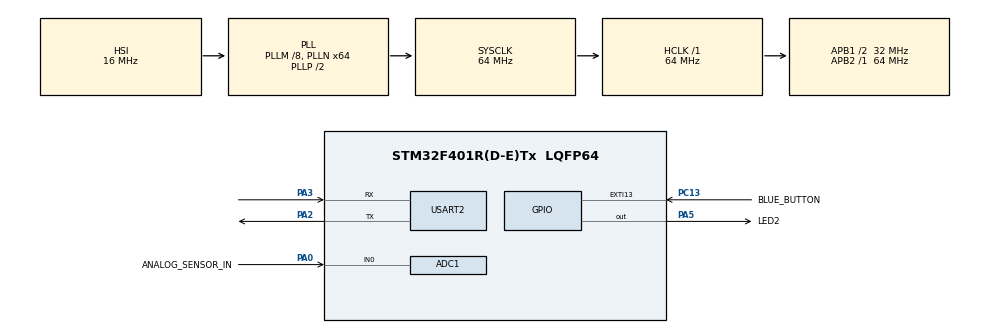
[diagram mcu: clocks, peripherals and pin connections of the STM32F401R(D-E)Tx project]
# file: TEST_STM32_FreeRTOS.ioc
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ADC1.AutoInjectedConv=DISABLE
ADC1.Channel-0\#ChannelRegularConversion=ADC_CHANNEL_0
ADC1.ClockPrescaler=ADC_CLOCK_SYNC_PCLK_DIV2
ADC1.ContinuousConvMode=ENABLE
ADC1.DMAContinuousRequests=ENABLE
ADC1.DataAlign=ADC_DATAALIGN_RIGHT
ADC1.DiscontinuousConvMode=DISABLE
ADC1.EOCSelection=ADC_EOC_SINGLE_CONV
ADC1.EnableAnalogWatchDog=false
ADC1.ExternalTrigConv=ADC_SOFTWARE_START
ADC1.ExternalTrigConvEdge=ADC_EXTERNALTRIGCONVEDGE_NONE
ADC1.InjNumberOfConversion=0
ADC1.InjectedDiscontinuousConvMode=DISABLE
ADC1.NbrOfConversion=1
ADC1.NbrOfConversionFlag=1
ADC1.Rank-0\#ChannelRegularConversion=1
ADC1.Resolution=ADC_RESOLUTION_12B
ADC1.SamplingTime-0\#ChannelRegularConversion=ADC_SAMPLETIME_3CYCLES
ADC1.ScanConvMode=ENABLE
ADC1.master=1
Dma.ADC1.0.Direction=DMA_PERIPH_TO_MEMORY
Dma.ADC1.0.FIFOMode=DMA_FIFOMODE_DISABLE
Dma.ADC1.0.Instance=DMA2_Stream0
Dma.ADC1.0.MemDataAlignment=DMA_MDATAALIGN_WORD
Dma.ADC1.0.MemInc=DMA_MINC_ENABLE
Dma.ADC1.0.Mode=DMA_CIRCULAR
Dma.ADC1.0.PeriphDataAlignment=DMA_PDATAALIGN_WORD
Dma.ADC1.0.PeriphInc=DMA_PINC_DISABLE
Dma.ADC1.0.Priority=DMA_PRIORITY_LOW
Dma.Request0=ADC1
FREERTOS.Queues01=myQueue01,16,uint16_t,NULL,Dynamic,NULL,NULL
FREERTOS.Tasks01=task01_Commu,0,128,commu_task,Default,NULL,Dynamic,NULL,NULL;task2_ADC,-3,128,adc_task,Default,NULL,Dynamic,NULL,NULL
FREERTOS.configUSE_ALTERNATIVE_API=0
Mcu.Family=STM32F4
Mcu.Name=STM32F401R(D-E)Tx
Mcu.Package=LQFP64
NVIC.DMA2_Stream0_IRQn=true\:5\:0\:false\:false\:true\:true
NVIC.PriorityGroup=NVIC_PRIORITYGROUP_4
NVIC.TIM2_IRQn=true\:6\:0\:true\:false\:true\:true
PA0-WKUP.GPIO_Label=ANALOG_SENSOR_IN
PA0-WKUP.Signal=ADCx_IN0
PA2.Mode=Asynchronous
PA2.Signal=USART2_TX
PA3.Mode=Asynchronous
PA3.Signal=USART2_RX
PA5.GPIO_Label=LED2
PA5.Signal=GPIO_Output
PC13-ANTI_TAMP.GPIO_Label=BLUE_BUTTON
PC13-ANTI_TAMP.Signal=GPXTI13
ProjectManager.HeapSize=0x200
ProjectManager.StackSize=0x400
ProjectManager.TargetToolchain=MDK-ARM V5
RCC.48MHZClocksFreq_Value=32000000
RCC.AHBCLKDivider=RCC_SYSCLK_DIV1
RCC.AHBFreq_Value=64000000
RCC.APB1CLKDivider=RCC_HCLK_DIV2
RCC.APB1Freq_Value=32000000
RCC.APB1TimFreq_Value=64000000
RCC.APB2CLKDivider=RCC_HCLK_DIV1
RCC.APB2Freq_Value=64000000
RCC.APB2TimFreq_Value=64000000
RCC.ClockTypeHCLK=RCC_CLOCKTYPE_HCLK
RCC.ClockTypePCLK1=RCC_CLOCKTYPE_PCLK1
RCC.ClockTypePCLK2=RCC_CLOCKTYPE_PCLK2
RCC.ClockTypeSysClk=RCC_CLOCKTYPE_SYSCLK
RCC.CortexFreq_Value=64000000
RCC.Cortex_Div=SYSTICK_CLKSOURCE_HCLK
RCC.EnableExtClockForI2S=false
RCC.EnableHSE=false
RCC.EnableHSERTCDevisor=false
RCC.EnableLSE=false
RCC.EnableLSERTC=false
RCC.ExtClockEnable=false
RCC.HCLKFreq_Value=64000000
RCC.HSEState=RCC_HSE_OFF
RCC.HSE_VALUE=25000000
RCC.HSIState=RCC_HSI_ON
RCC.HSI_VALUE=16000000
RCC.I2SEnable=false
RCC.IWDGEnable=false
RCC.LSE_VALUE=32768
RCC.LSIState=RCC_LSI_OFF
RCC.MCO1OutPutEnable=false
RCC.MCO2OutPutEnable=false
RCC.OscillatorTypeHSI=RCC_OSCILLATORTYPE_HSI
RCC.PLLM=8
RCC.PLLN=64
RCC.PLLP=RCC_PLLP_DIV2
RCC.PLLSource=RCC_PLLSOURCE_HSI
RCC.PLLState=RCC_PLL_ON
RCC.RCC_MCODiv1=RCC_MCODIV_1
RCC.RCC_MCODiv2=RCC_MCODIV_1
RCC.RCC_RTC_Clock_Source_FROM_HSE=RCC_RTCCLKSOURCE_HSE_DIV2
RCC.RNGEnable=false
RCC.RTCEnable=false
RCC.SDIOEnable=false
RCC.SYSCLKFreq_VALUE=64000000
RCC.SYSCLKSource=RCC_SYSCLKSOURCE_PLLCLK
RCC.USBFSEnable=false
RCC.USBHSEnable=false
RCC.VCOOutputFreq_Value=128000000
SH.ADCx_IN0.0=ADC1_IN0,IN0
TIM2.Period=1000-1
TIM2.Prescaler=64-1
USART2.HwFlowCtl-Asynchronous=UART_HWCONTROL_NONE
USART2.VirtualMode=VM_ASYNC
VP_FREERTOS_VS_ENABLE.Mode=Enabled
VP_TIM2_VS_ClockSourceINT.Mode=Internal
board=TEST_STM32_FreeRTOS

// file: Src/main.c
/**
  ******************************************************************************
  * File Name          : main.c
  * Description        : Main program body
  ******************************************************************************
  *
  * Copyright (c) 2017 STMicroelectronics International N.V.
  * All rights reserved.
  *
  * Redistribution and use in source and binary forms, with or without
  * modification, are permitted, provided that the following conditions are met:
  *
  * 1. Redistribution of source code must retain the above copyright notice,
  *    this list of conditions and the following disclaimer.
  * 2. Redistributions in binary form must reproduce the above copyright notice,
  *    this list of conditions and the following disclaimer in the documentation
  *    and/or other materials provided with the distribution.
  * 3. Neither the name of STMicroelectronics nor the names of other
  *    contributors to this software may be used to endorse or promote products
  *    derived from this software without specific written permission.
  * 4. This software, including modifications and/or derivative works of this
  *    software, must execute solely and exclusively on microcontroller or
  *    microprocessor devices manufactured by or for STMicroelectronics.
  * 5. Redistribution and use of this software other than as permitted under
  *    this license is void and will automatically terminate your rights under
  *    this license.
  *
  * THIS SOFTWARE IS PROVIDED BY STMICROELECTRONICS AND CONTRIBUTORS "AS IS"
  * AND ANY EXPRESS, IMPLIED OR STATUTORY WARRANTIES, INCLUDING, BUT NOT
  * LIMITED TO, THE IMPLIED WARRANTIES OF MERCHANTABILITY, FITNESS FOR A
  * PARTICULAR PURPOSE AND NON-INFRINGEMENT OF THIRD PARTY INTELLECTUAL PROPERTY
  * RIGHTS ARE DISCLAIMED TO THE FULLEST EXTENT PERMITTED BY LAW. IN NO EVENT
  * SHALL STMICROELECTRONICS OR CONTRIBUTORS BE LIABLE FOR ANY DIRECT, INDIRECT,
  * INCIDENTAL, SPECIAL, EXEMPLARY, OR CONSEQUENTIAL DAMAGES (INCLUDING, BUT NOT
  * LIMITED TO, PROCUREMENT OF SUBSTITUTE GOODS OR SERVICES; LOSS OF USE, DATA,
  * OR PROFITS; OR BUSINESS INTERRUPTION) HOWEVER CAUSED AND ON ANY THEORY OF
  * LIABILITY, WHETHER IN CONTRACT, STRICT LIABILITY, OR TORT (INCLUDING
  * NEGLIGENCE OR OTHERWISE) ARISING IN ANY WAY OUT OF THE USE OF THIS SOFTWARE,
  * EVEN IF ADVISED OF THE POSSIBILITY OF SUCH DAMAGE.
  *
  ******************************************************************************
  */
#include "main.h"
#include "stm32f4xx_hal.h"
#include "cmsis_os.h"

/* USER CODE BEGIN Includes */
#include <stdio.h>  // sprintf
#include <string.h> // strlen

/* USER CODE END Includes */

ADC_HandleTypeDef hadc1;
DMA_HandleTypeDef hdma_adc1;

TIM_HandleTypeDef htim2;

UART_HandleTypeDef huart2;

osThreadId task01_CommuHandle;
osThreadId task2_ADCHandle;
osMailQId Queue01Handle;

/* USER CODE BEGIN PV */
/* Private variables ---------------------------------------------------------*/

/* USER CODE END PV */

void SystemClock_Config(void);
void Error_Handler(void);
static void MX_GPIO_Init(void);
static void MX_DMA_Init(void);
static void MX_USART2_UART_Init(void);
static void MX_ADC1_Init(void);
static void MX_TIM2_Init(void);
void commu_task(void const * argument);
void adc_task(void const * argument);

/* USER CODE BEGIN PFP */
/* Private function prototypes -----------------------------------------------*/

/* USER CODE END PFP */

/* USER CODE BEGIN 0 */
#define Signal_A 0x0001

char initString[256];
uint32_t ConvertedData[2]; //Buffer for the converted data
uint32_t PBvolt; //for ADC_IN0 in mV
uint32_t POTvolt; //for ADC_IN1 in mV. Will be later used in the second part of this exercise

static volatile uint16_t adcVal = 0;
static volatile uint16_t newAdcVal = 0;
uint8_t tempRx;

typedef struct {
	uint8_t  START_TEXT ;
	uint8_t  NUMBER_DATA;
	uint16_t ADC_DATA ;
	uint16_t HUMIDITY;
	uint8_t  END_TEXT;
} DATA_PACKAGE;

/* USER CODE END 0 */

int main(void)
{

  /* MCU Configuration----------------------------------------------------------*/

  /* Reset of all peripherals, Initializes the Flash interface and the Systick. */
  HAL_Init();

  /* Configure the system clock */
  SystemClock_Config();

  /* Initialize all configured peripherals */
  MX_GPIO_Init();
  MX_DMA_Init();
  MX_USART2_UART_Init();
  MX_ADC1_Init();
  MX_TIM2_Init();

  /* USER CODE BEGIN 2 */
//	if (HAL_ADCEx_Calibration_Start(&hadc1, ADC_SINGLE_ENDED) != HAL_OK)
//	{
//	    Error_Handler();
//	}

	if (HAL_ADC_Start_DMA(&hadc1, ConvertedData, 1) != HAL_OK)
	{
	   Error_Handler();
	}

	/* Turn on LD2 */
	HAL_GPIO_WritePin(GPIOA, GPIO_PIN_5, GPIO_PIN_SET );

  /* USER CODE END 2 */

  /* Create the thread(s) */
  /* definition and creation of task01_Commu */
  osThreadDef(task01_Commu, commu_task, osPriorityNormal, 0, 128);
  task01_CommuHandle = osThreadCreate(osThread(task01_Commu), NULL);

  /* definition and creation of task2_ADC */
  osThreadDef(task2_ADC, adc_task, osPriorityIdle, 0, 128);
  task2_ADCHandle = osThreadCreate(osThread(task2_ADC), NULL);

  /* Create the queue(s) */
  /* definition and creation of myQueue01 */
  osMailQDef(Queue01, 16,  DATA_PACKAGE);
	Queue01Handle = osMailCreate(osMailQ(Queue01), NULL);

  /* Start scheduler */
  osKernelStart();

  /* We should never get here as control is now taken by the scheduler */

  /* Infinite loop */
  while (1)
  {

  }

}

/** System Clock Configuration
*/
void SystemClock_Config(void)
{

  RCC_OscInitTypeDef RCC_OscInitStruct;
  RCC_ClkInitTypeDef RCC_ClkInitStruct;

    /**Configure the main internal regulator output voltage
    */
  __HAL_RCC_PWR_CLK_ENABLE();

  __HAL_PWR_VOLTAGESCALING_CONFIG(PWR_REGULATOR_VOLTAGE_SCALE2);

    /**Initializes the CPU, AHB and APB busses clocks
    */
  RCC_OscInitStruct.OscillatorType = RCC_OSCILLATORTYPE_HSI;
  RCC_OscInitStruct.HSIState = RCC_HSI_ON;
  RCC_OscInitStruct.HSICalibrationValue = 16;
  RCC_OscInitStruct.PLL.PLLState = RCC_PLL_ON;
  RCC_OscInitStruct.PLL.PLLSource = RCC_PLLSOURCE_HSI;
  RCC_OscInitStruct.PLL.PLLM = 8;
  RCC_OscInitStruct.PLL.PLLN = 64;
  RCC_OscInitStruct.PLL.PLLP = RCC_PLLP_DIV2;
  RCC_OscInitStruct.PLL.PLLQ = 4;
  if (HAL_RCC_OscConfig(&RCC_OscInitStruct) != HAL_OK)
  {
    Error_Handler();
  }

    /**Initializes the CPU, AHB and APB busses clocks
    */
  RCC_ClkInitStruct.ClockType = RCC_CLOCKTYPE_HCLK|RCC_CLOCKTYPE_SYSCLK
                              |RCC_CLOCKTYPE_PCLK1|RCC_CLOCKTYPE_PCLK2;
  RCC_ClkInitStruct.SYSCLKSource = RCC_SYSCLKSOURCE_PLLCLK;
  RCC_ClkInitStruct.AHBCLKDivider = RCC_SYSCLK_DIV1;
  RCC_ClkInitStruct.APB1CLKDivider = RCC_HCLK_DIV2;
  RCC_ClkInitStruct.APB2CLKDivider = RCC_HCLK_DIV1;

  if (HAL_RCC_ClockConfig(&RCC_ClkInitStruct, FLASH_LATENCY_2) != HAL_OK)
  {
    Error_Handler();
  }

    /**Configure the Systick interrupt time
    */
  HAL_SYSTICK_Config(HAL_RCC_GetHCLKFreq()/1000);

    /**Configure the Systick
    */
  HAL_SYSTICK_CLKSourceConfig(SYSTICK_CLKSOURCE_HCLK);

  /* SysTick_IRQn interrupt configuration */
  HAL_NVIC_SetPriority(SysTick_IRQn, 15, 0);
}

/* ADC1 init function */
static void MX_ADC1_Init(void)
{

  ADC_ChannelConfTypeDef sConfig;

    /**Configure the global features of the ADC (Clock, Resolution, Data Alignment and number of conversion)
    */
  hadc1.Instance = ADC1;
  hadc1.Init.ClockPrescaler = ADC_CLOCK_SYNC_PCLK_DIV2;
  hadc1.Init.Resolution = ADC_RESOLUTION_12B;
  hadc1.Init.ScanConvMode = ENABLE;
  hadc1.Init.ContinuousConvMode = ENABLE;
  hadc1.Init.DiscontinuousConvMode = DISABLE;
  hadc1.Init.ExternalTrigConvEdge = ADC_EXTERNALTRIGCONVEDGE_NONE;
  hadc1.Init.ExternalTrigConv = ADC_SOFTWARE_START;
  hadc1.Init.DataAlign = ADC_DATAALIGN_RIGHT;
  hadc1.Init.NbrOfConversion = 1;
  hadc1.Init.DMAContinuousRequests = ENABLE;
  hadc1.Init.EOCSelection = ADC_EOC_SINGLE_CONV;
  if (HAL_ADC_Init(&hadc1) != HAL_OK)
  {
    Error_Handler();
  }

    /**Configure for the selected ADC regular channel its corresponding rank in the sequencer and its sample time.
    */
  sConfig.Channel = ADC_CHANNEL_0;
  sConfig.Rank = 1;
  sConfig.SamplingTime = ADC_SAMPLETIME_3CYCLES;
  if (HAL_ADC_ConfigChannel(&hadc1, &sConfig) != HAL_OK)
  {
    Error_Handler();
  }

}

/* TIM2 init function */
static void MX_TIM2_Init(void)
{

  TIM_ClockConfigTypeDef sClockSourceConfig;
  TIM_MasterConfigTypeDef sMasterConfig;

  htim2.Instance = TIM2;
  htim2.Init.Prescaler = 64-1;
  htim2.Init.CounterMode = TIM_COUNTERMODE_UP;
  htim2.Init.Period = 1000-1;
  htim2.Init.ClockDivision = TIM_CLOCKDIVISION_DIV1;
  if (HAL_TIM_Base_Init(&htim2) != HAL_OK)
  {
    Error_Handler();
  }

  sClockSourceConfig.ClockSource = TIM_CLOCKSOURCE_INTERNAL;
  if (HAL_TIM_ConfigClockSource(&htim2, &sClockSourceConfig) != HAL_OK)
  {
    Error_Handler();
  }

  sMasterConfig.MasterOutputTrigger = TIM_TRGO_RESET;
  sMasterConfig.MasterSlaveMode = TIM_MASTERSLAVEMODE_DISABLE;
  if (HAL_TIMEx_MasterConfigSynchronization(&htim2, &sMasterConfig) != HAL_OK)
  {
    Error_Handler();
  }

}

/* USART2 init function */
static void MX_USART2_UART_Init(void)
{

  huart2.Instance = USART2;
  huart2.Init.BaudRate = 115200;
  huart2.Init.WordLength = UART_WORDLENGTH_8B;
  huart2.Init.StopBits = UART_STOPBITS_1;
  huart2.Init.Parity = UART_PARITY_NONE;
  huart2.Init.Mode = UART_MODE_TX_RX;
  huart2.Init.HwFlowCtl = UART_HWCONTROL_NONE;
  huart2.Init.OverSampling = UART_OVERSAMPLING_16;
  if (HAL_UART_Init(&huart2) != HAL_OK)
  {
    Error_Handler();
  }

}

static void MX_DMA_Init(void)
{
  /* DMA controller clock enable */
  __HAL_RCC_DMA2_CLK_ENABLE();

  /* DMA interrupt init */
  /* DMA2_Stream0_IRQn interrupt configuration */
  ////// HAL_NVIC_SetPriority(DMA2_Stream0_IRQn, 5, 0);
  ////// HAL_NVIC_EnableIRQ(DMA2_Stream0_IRQn);

}

/** Configure pins as
        * Analog
        * Input
        * Output
        * EVENT_OUT
        * EXTI
*/
static void MX_GPIO_Init(void)
{

  GPIO_InitTypeDef GPIO_InitStruct;

  /* GPIO Ports Clock Enable */
  __HAL_RCC_GPIOC_CLK_ENABLE();
  __HAL_RCC_GPIOA_CLK_ENABLE();

  /*Configure GPIO pin Output Level */
  HAL_GPIO_WritePin(LED2_GPIO_Port, LED2_Pin, GPIO_PIN_RESET);

  /*Configure GPIO pin : BLUE_BUTTON_Pin */
  GPIO_InitStruct.Pin = BLUE_BUTTON_Pin;
  GPIO_InitStruct.Mode = GPIO_MODE_IT_RISING;
  GPIO_InitStruct.Pull = GPIO_NOPULL;
  HAL_GPIO_Init(BLUE_BUTTON_GPIO_Port, &GPIO_InitStruct);

  /*Configure GPIO pin : LED2_Pin */
  GPIO_InitStruct.Pin = LED2_Pin;
  GPIO_InitStruct.Mode = GPIO_MODE_OUTPUT_PP;
  GPIO_InitStruct.Pull = GPIO_NOPULL;
  GPIO_InitStruct.Speed = GPIO_SPEED_FREQ_LOW;
  HAL_GPIO_Init(LED2_GPIO_Port, &GPIO_InitStruct);

}

/* commu_task function */
void commu_task(void const * argument)
{

  /* USER CODE BEGIN 5 */
	char sendStr[256] = "\nInitial Complete.";

	HAL_UART_Transmit(&huart2, (uint8_t *)sendStr, strlen(sendStr), 2000);  // Send Greeting

	osSignalSet(task2_ADCHandle, Signal_A);  // send signal
  /* Infinite loop */
  for(;;)
  {
		osEvent mail_event = osMailGet(Queue01Handle, 0);
		if(mail_event.status == osEventMail){
			DATA_PACKAGE *data = (DATA_PACKAGE *)mail_event.value.p;  /// Receive data

			sprintf(sendStr,"\nSTART TEXT: %d, NUMBER DATA: %d, ADC DATA: %d, Calculated DATA: %d, END TEXT: %d",data->START_TEXT,
											data->NUMBER_DATA,data->ADC_DATA,data->HUMIDITY,data->END_TEXT);
			HAL_UART_Transmit(&huart2, (uint8_t *)sendStr, strlen(sendStr), 500);

			osMailFree(Queue01Handle,data);
			HAL_Delay(500);
		}
    osDelay(1);
  }
  /* USER CODE END 5 */
}

/* adc_task function */
void adc_task(void const * argument)
{
  /* USER CODE BEGIN adc_task */
	int newAdcVal = 1;
	osSignalWait(Signal_A, osWaitForever);
  /* Infinite loop */
  for(;;)
  {
		adcVal  = HAL_ADC_GetValue(&hadc1);
		newAdcVal = 950 - ((double)adcVal/4095.0) * 950;

		DATA_PACKAGE *data = osMailAlloc(Queue01Handle ,osWaitForever) ;  // Pack DATA
		data->START_TEXT = 0x02;
		data->NUMBER_DATA = 0x04;
		data->ADC_DATA = adcVal;
		data->HUMIDITY = newAdcVal ;
		data->END_TEXT = 0x03;

		osMailPut(Queue01Handle,data);  // Send to MailQueue

		HAL_GPIO_TogglePin(GPIOA,GPIO_PIN_5);

    osDelay(1);
  }
  /* USER CODE END adc_task */
}

void Error_Handler(void)
{
  while(1)
  {
  }
}

/************************ (C) COPYRIGHT STMicroelectronics *****END OF FILE****/
